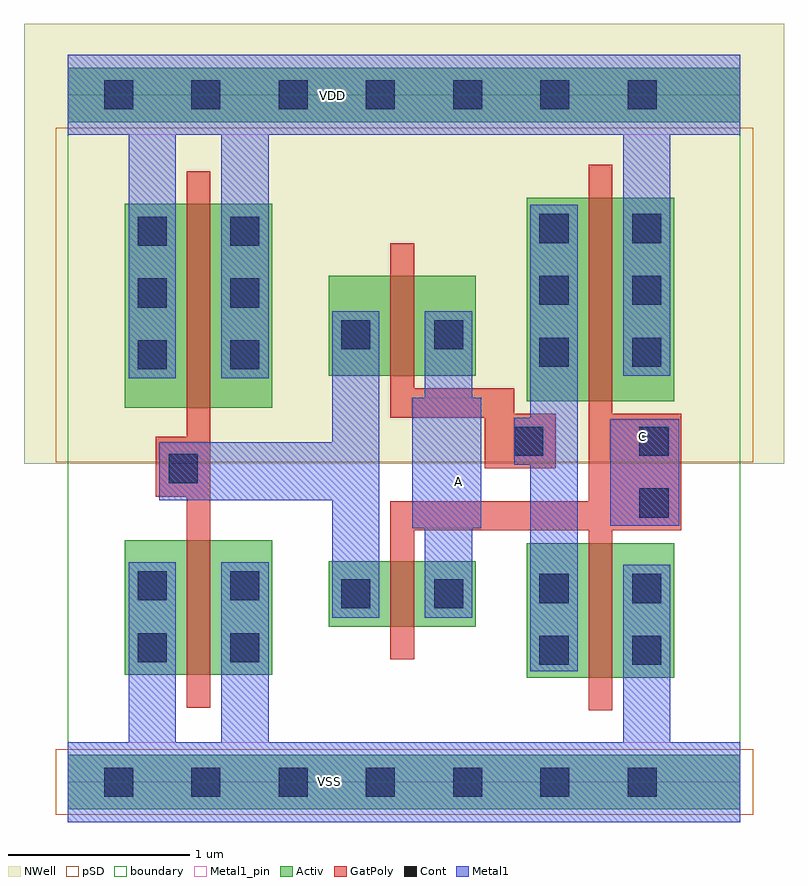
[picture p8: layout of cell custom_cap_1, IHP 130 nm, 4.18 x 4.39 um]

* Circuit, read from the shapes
.subckt custom_cap_1 A C VDD VSS
XM1 VSS n1 VSS VSS sg13_lv_nmos w=0.74u l=0.13u
XM2 A C n1 VSS sg13_lv_nmos w=0.36u l=0.13u
XM3 VSS C n2 VSS sg13_lv_nmos w=0.74u l=0.13u
XM4 VDD n1 VDD VDD sg13_lv_pmos w=1.12u l=0.13u
XM5 A n2 n1 VDD sg13_lv_pmos w=0.55u l=0.13u
XM6 VDD C n2 VDD sg13_lv_pmos w=1.12u l=0.13u
.ends

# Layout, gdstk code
import gdstk
lib = gdstk.Library(unit=1e-6, precision=1e-09)
def R(c, l, rs):  # rectangles x0, y0, x1, y1
    for r in rs: c.add(gdstk.rectangle(r[:2], r[2:], *l))
def A(c, l, x, y, w, h, nx, ny, dx, dy):  # array of equal rectangles
    R(c, l, [(x+i*dx, y+j*dy, x+i*dx+w, y+j*dy+h) for i in range(nx) for j in range(ny)])
def P(c, l, *ps):  # polygons
    for p in ps: c.add(gdstk.Polygon(p, *l))
Activ = (1, 0)
GatPoly = (5, 0)
Cont = (6, 0)
Metal1 = (8, 0)
Metal1_pin = (8, 2)
pSD = (14, 0)
NWell = (31, 0)
boundary = (189, 4)

custom_cap_1 = lib.new_cell('custom_cap_1')
R(custom_cap_1, Activ, [(0,-0.15,3.7,0.15), (2.525,0.575,3.335,1.315), (0.315,0.59,1.125,1.33), (1.435,0.855,2.245,1.215), (0.315,2.06,1.125,3.18), (2.525,2.095,3.335,3.215), (1.435,2.235,2.245,2.785), (0,3.63,3.7,3.93)])
P(custom_cap_1, GatPoly, [(2.295,1.725),(2.295,2.005),(1.775,2.005),(1.775,2.965),(1.905,2.965),(1.905,2.165),(2.455,2.165),(2.455,2.025),(2.685,2.025),(2.685,1.725)],
  [(2.865,0.395),(2.865,1.385),(1.905,1.385),(1.905,0.675),(1.775,0.675),(1.775,1.545),(2.865,1.545),(2.865,3.395),(2.995,3.395),(2.995,2.025),(3.375,2.025),(3.375,1.385),(2.995,1.385),(2.995,0.395)],
  [(0.655,0.41),(0.655,1.57),(0.485,1.57),(0.485,1.9),(0.655,1.9),(0.655,3.36),(0.785,3.36),(0.785,0.41)])
A(custom_cap_1, Cont, 0.385, 2.27, 0.16, 0.16, 1, 3, 0, 0.34)
A(custom_cap_1, Cont, 0.895, 2.27, 0.16, 0.16, 1, 3, 0, 0.34)
A(custom_cap_1, Cont, 2.595, 2.285, 0.16, 0.16, 1, 3, 0, 0.34)
A(custom_cap_1, Cont, 3.105, 2.285, 0.16, 0.16, 1, 3, 0, 0.34)
R(custom_cap_1, Cont, [(0.2,-0.08,0.36,0.08), (0.2,-0.08,0.36,0.08), (0.68,-0.08,0.84,0.08), (0.68,-0.08,0.84,0.08), (1.16,-0.08,1.32,0.08), (1.16,-0.08,1.32,0.08), (1.64,-0.08,1.8,0.08), (1.64,-0.08,1.8,0.08), (2.12,-0.08,2.28,0.08), (2.12,-0.08,2.28,0.08), (2.6,-0.08,2.76,0.08), (2.6,-0.08,2.76,0.08), (3.08,-0.08,3.24,0.08), (3.08,-0.08,3.24,0.08), (2.595,0.645,2.755,0.805), (3.105,0.645,3.265,0.805), (0.385,0.66,0.545,0.82), (0.895,0.66,1.055,0.82), (1.505,0.955,1.665,1.115), (2.015,0.955,2.175,1.115), (2.595,0.985,2.755,1.145), (3.105,0.985,3.265,1.145), (0.385,1,0.545,1.16), (0.895,1,1.055,1.16), (3.145,1.455,3.305,1.615), (0.555,1.645,0.715,1.805), (2.455,1.795,2.615,1.955), (3.145,1.795,3.305,1.955), (1.505,2.38,1.665,2.54), (2.015,2.38,2.175,2.54), (0.2,3.7,0.36,3.86), (0.2,3.7,0.36,3.86), (0.68,3.7,0.84,3.86), (0.68,3.7,0.84,3.86), (1.16,3.7,1.32,3.86), (1.16,3.7,1.32,3.86), (1.64,3.7,1.8,3.86), (1.64,3.7,1.8,3.86), (2.12,3.7,2.28,3.86), (2.12,3.7,2.28,3.86), (2.6,3.7,2.76,3.86), (2.6,3.7,2.76,3.86), (3.08,3.7,3.24,3.86), (3.08,3.7,3.24,3.86)])
R(custom_cap_1, Metal1, [(2.985,1.41,3.365,1.995)])
P(custom_cap_1, Metal1, [(1.455,0.905),(1.455,1.55),(0.505,1.55),(0.505,1.87),(1.455,1.87),(1.455,2.59),(1.715,2.59),(1.715,0.905)],
  [(1.965,0.905),(1.965,1.395),(1.895,1.395),(1.895,2.115),(1.965,2.115),(1.965,2.59),(2.225,2.59),(2.225,2.115),(2.275,2.115),(2.275,1.395),(2.225,1.395),(2.225,0.905)],
  [(2.545,0.61),(2.545,1.745),(2.455,1.745),(2.455,2.005),(2.545,2.005),(2.545,3.175),(2.805,3.175),(2.805,0.61)],
  [(0.335,2.22),(0.335,3.56),(0,3.56),(0,4),(3.7,4),(3.7,3.56),(3.315,3.56),(3.315,2.235),(3.055,2.235),(3.055,3.56),(1.105,3.56),(1.105,2.22),(0.845,2.22),(0.845,3.56),(0.595,3.56),(0.595,2.22)],
  [(0,-0.22),(0,0.22),(0.335,0.22),(0.335,1.21),(0.595,1.21),(0.595,0.22),(0.845,0.22),(0.845,1.21),(1.105,1.21),(1.105,0.22),(3.055,0.22),(3.055,1.195),(3.315,1.195),(3.315,0.22),(3.7,0.22),(3.7,-0.22)])
R(custom_cap_1, Metal1_pin, [(0,-0.22,3.7,0.22), (1.895,1.395,2.275,2.115), (2.985,1.41,3.365,1.995), (0,3.56,3.7,4)])
R(custom_cap_1, pSD, [(-0.065,-0.18,3.77,0.18), (-0.065,1.76,3.77,3.6)])
R(custom_cap_1, NWell, [(-0.24,1.75,3.94,4.17)])
R(custom_cap_1, boundary, [(0,0,3.7,3.78)])
custom_cap_1.add(gdstk.Label('C', (3.16,1.9), layer=8, texttype=25))
custom_cap_1.add(gdstk.Label('A', (2.15,1.655), layer=8, texttype=25))
custom_cap_1.add(gdstk.Label('VSS', (1.44,0.005), layer=8, texttype=25))
custom_cap_1.add(gdstk.Label('VDD', (1.455,3.775), layer=8, texttype=25))

lib.write_gds('custom_cap_1.gds')
